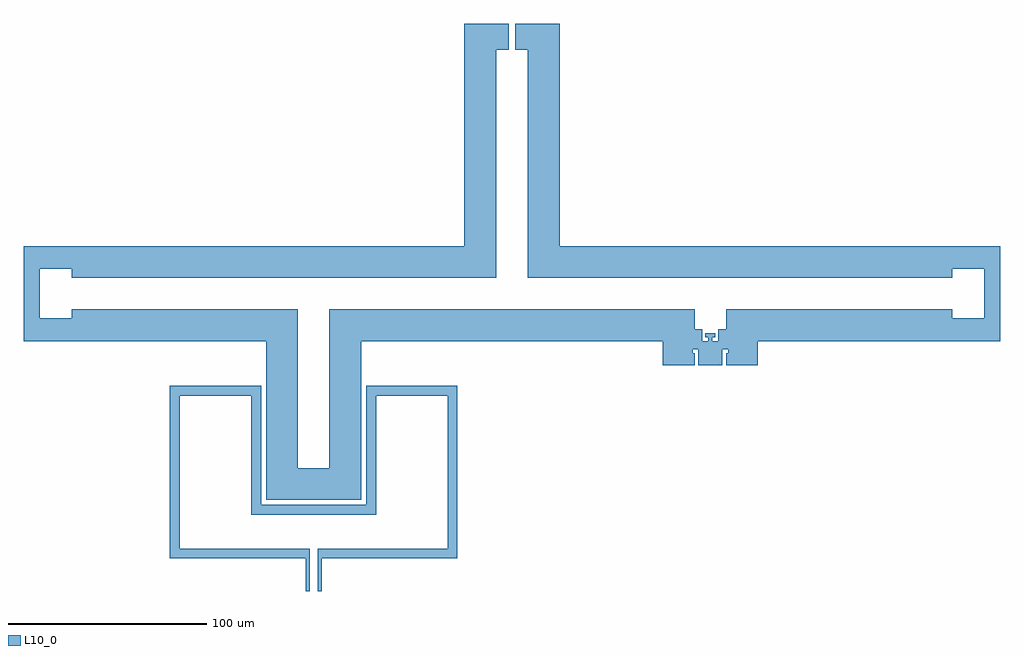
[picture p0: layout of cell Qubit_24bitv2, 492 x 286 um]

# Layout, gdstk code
from math import pi, radians
import gdstk
lib = gdstk.Library(unit=1e-6, precision=1e-09)
def R(c, l, rs):  # rectangles x0, y0, x1, y1
    for r in rs: c.add(gdstk.rectangle(r[:2], r[2:], *l))
def P(c, l, *ps):  # polygons
    for p in ps: c.add(gdstk.Polygon(p, *l))
L10_0 = (10, 0)

airbridge1ins = lib.new_cell('airbridge1ins')

qubit_24bitv2 = lib.new_cell('Qubit_24bitv2')
R(qubit_24bitv2, L10_0, [(-104,-136,-102,-119.5), (-98,-136,-96,-119.5), (-172.5,-119.5,-167.5,-32.5), (-167.5,-119.5,-102,-114.5), (-98,-119.5,-32.5,-114.5), (-32.5,-119.5,-27.5,-32.5), (-131.5,-97.5,-68.5,-92.5), (-131.5,-92.5,-126.5,-32.5), (-73.5,-92.5,-68.5,-32.5), (-124,-90,-108,-10), (-108,-90,-92,-74), (-92,-90,-76,-10), (-167.5,-37.5,-131.5,-32.5), (-68.5,-37.5,-32.5,-32.5), (-246,-10,-238,38), (-238,-10,-222,1.5), (-222,-10,-206,6), (-206,-10,-158,6), (-158,-10,-108,6), (-92,-10,76,6), (124,-10,158,6), (158,-10,206,6), (206,-10,222,6), (222,-10,238,1.5), (238,-10,246,38), (-222,22,-206,38), (-206,22,-32,38), (-32,22,-8,38), (8,22,32,38), (32,22,206,38), (206,22,222,38), (-238,26.5,-222,38), (222,26.5,238,38), (-24,38,-8,110), (8,38,24,110), (-24,110,-8,126), (8,110,24,126), (-24,126,-8,142), (8,126,24,142), (-8,137,-1.6,150), (1.6,137,8,150), (-24,142,-8,150), (8,142,24,150)])
P(qubit_24bitv2, L10_0, [(76,-22),(76,6),(92,6),(92,-4),(96,-4),(96,-10),(99,-10),(99,-8),(97.5,-8),(97.5,-6),(102.5,-6),(102.5,-8),(101,-8),(101,-10),(104,-10),(104,-4),(108,-4),(108,6),(124,6),(124,-22),(108,-22),(108,-16),(109,-16),(109,-14),(106,-14),(106,-22),(94,-22),(94,-14),(91,-14),(91,-16),(92,-16),(92,-22)])
qubit_24bitv2.add(gdstk.Reference(airbridge1ins, (108,-86), rotation=pi))

lib.write_gds('Qubit_24bitv2.gds')
